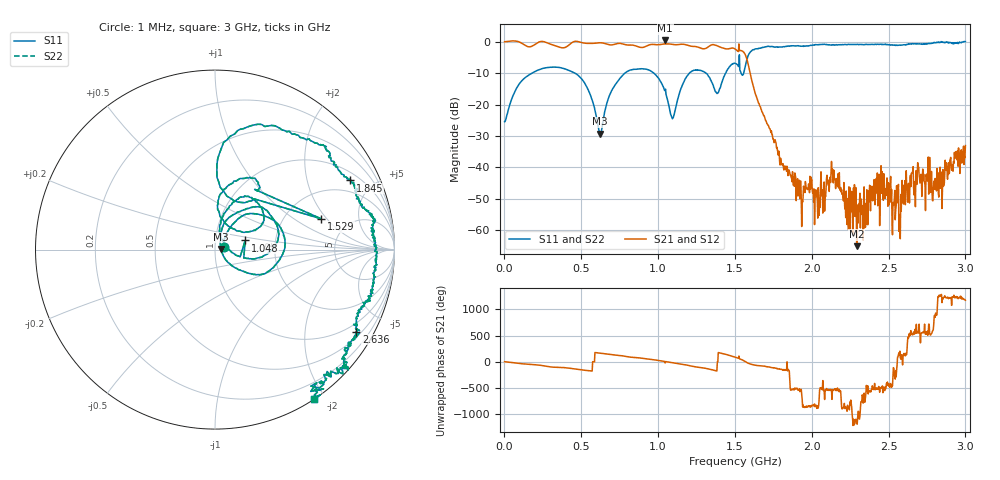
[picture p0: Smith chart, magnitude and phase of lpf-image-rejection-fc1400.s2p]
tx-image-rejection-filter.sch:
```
<Qucs Schematic 0.0.20>
<Properties>
  <View=-3,-960,4144,2839,0.288391,0,180>
  <Grid=10,10,1>
  <DataSet=sband-tx.dat>
  <DataDisplay=sband-tx.dpl>
  <OpenDisplay=1>
  <Script=sband-tx.m>
  <RunScript=0>
  <showFrame=0>
  <FrameText0=Title>
  <FrameText1=Drawn By:>
  <FrameText2=Date:>
  <FrameText3=Revision:>
</Properties>
<Symbol>
</Symbol>
<Components>
  <L L11 1 330 -360 -26 10 0 0 "6.8 nH" 1 "" 0>
  <L L12 1 760 -360 -26 10 0 0 "6.8 nH" 1 "" 0>
  <L L15 1 430 -360 -26 10 0 0 "10 nH" 1 "" 0>
  <L L14 1 540 -360 -26 10 0 0 "10 nH" 1 "" 0>
  <L L13 1 650 -360 -26 10 0 0 "10 nH" 1 "" 0>
  <C C9 1 380 -280 17 -26 0 1 "1.6 pF" 1 "" 0 "neutral" 0>
  <C C10 1 490 -280 17 -26 0 1 "1.8 pF" 1 "" 0 "neutral" 0>
  <C C11 1 590 -280 17 -26 0 1 "1.8 pF" 1 "" 0 "neutral" 0>
  <C C12 1 710 -280 17 -26 0 1 "1.6 pF" 1 "" 0 "neutral" 0>
  <L L19 1 540 -90 -26 10 0 0 "10 nH" 1 "" 0>
  <C C14 1 490 -10 17 -26 0 1 "1.8 pF" 1 "" 0 "neutral" 0>
  <C C15 1 590 -10 17 -26 0 1 "1.8 pF" 1 "" 0 "neutral" 0>
  <L L16 1 330 -90 -26 10 0 0 "6.2 nH" 1 "" 0>
  <L L18 1 430 -90 -26 10 0 0 "9.1 nH" 1 "" 0>
  <L L20 1 650 -90 -26 10 0 0 "9.1 nH" 1 "" 0>
  <L L17 1 760 -90 -26 10 0 0 "6.2 nH" 1 "" 0>
  <C C13 1 380 -10 17 -26 0 1 "1.8 pF" 1 "" 0 "neutral" 0>
  <C C16 1 710 -10 17 -26 0 1 "1.8 pF" 1 "" 0 "neutral" 0>
  <C C19 1 380 240 17 -26 0 1 "1.8 pF" 1 "" 0 "neutral" 0>
  <C C20 1 710 240 17 -26 0 1 "1.8 pF" 1 "" 0 "neutral" 0>
  <L L22 1 330 160 -26 10 0 0 "5.6 nH" 1 "" 0>
  <L L23 1 430 160 -26 10 0 0 "8.2 nH" 1 "" 0>
  <L L21 1 540 160 -26 10 0 0 "8.2 nH" 1 "" 0>
  <L L24 1 650 160 -26 10 0 0 "8.2 nH" 1 "" 0>
  <L L25 1 760 160 -26 10 0 0 "5.6 nH" 1 "" 0>
  <C C17 1 490 240 17 -26 0 1 "2.2 pF" 1 "" 0 "neutral" 0>
  <C C18 1 590 240 17 -26 0 1 "2.2 pF" 1 "" 0 "neutral" 0>
  <L L26 1 330 -590 -26 10 0 0 "7.5 nH" 1 "" 0>
  <L L28 1 430 -590 -26 10 0 0 "11 nH" 1 "" 0>
  <L L29 1 540 -590 -26 10 0 0 "11 nH" 1 "" 0>
  <L L30 1 650 -590 -26 10 0 0 "11 nH" 1 "" 0>
  <L L27 1 760 -590 -26 10 0 0 "7.5 nH" 1 "" 0>
  <C C21 1 380 -510 17 -26 0 1 "1.5 pF" 1 "" 0 "neutral" 0>
  <C C22 1 490 -510 17 -26 0 1 "1.6 pF" 1 "" 0 "neutral" 0>
  <C C23 1 590 -510 17 -26 0 1 "1.6 pF" 1 "" 0 "neutral" 0>
  <C C24 1 710 -510 17 -26 0 1 "1.5 pF" 1 "" 0 "neutral" 0>
  <Pac P30 1 210 -290 18 -26 0 1 "11" 1 "50 Ohm" 1 "-10 dBm" 0 "2220 MHz" 0 "26.85" 0>
  <Pac P31 1 880 -290 18 -26 0 1 "12" 1 "50 Ohm" 1 "-10 dBm" 0 "2220 MHz" 0 "26.85" 0>
  <Pac P32 1 210 -20 18 -26 0 1 "13" 1 "50 Ohm" 1 "-10 dBm" 0 "2220 MHz" 0 "26.85" 0>
  <Pac P33 1 880 -30 18 -26 0 1 "14" 1 "50 Ohm" 1 "-10 dBm" 0 "2220 MHz" 0 "26.85" 0>
  <Pac P34 1 880 230 18 -26 0 1 "15" 1 "50 Ohm" 1 "-10 dBm" 0 "2220 MHz" 0 "26.85" 0>
  <Pac P35 1 210 230 18 -26 0 1 "16" 1 "50 Ohm" 1 "-10 dBm" 0 "2220 MHz" 0 "26.85" 0>
  <Pac P28 1 220 -520 18 -26 0 1 "6" 1 "50 Ohm" 1 "-10 dBm" 0 "2220 MHz" 0 "26.85" 0>
  <Pac P29 1 880 -530 18 -26 0 1 "10" 1 "50 Ohm" 1 "-10 dBm" 0 "2220 MHz" 0 "26.85" 0>
  <GND *11 5 520 -440 0 0 0 0>
  <GND *8 5 520 -210 0 0 0 0>
  <GND *10 5 520 310 0 0 0 0>
  <GND *9 5 520 60 0 0 0 0>
  <Eqn Eqn4 1 1030 -590 -28 15 0 0 "S610_dB=dB(S[6,10])" 1 "S106_dB=dB(S[10,6])" 1 "S66_dB=dB(S[6,6])" 1 "S1010_dB=dB(S[10,10])" 1 "yes" 0>
  <Eqn Eqn6 1 1050 -100 -28 15 0 0 "S1314_dB=dB(S[13,14])" 1 "S1413_dB=dB(S[14,13])" 1 "S1313_dB=dB(S[13,13])" 1 "S1414_dB=dB(S[14,14])" 1 "yes" 0>
  <Eqn Eqn7 1 1060 160 -28 15 0 0 "S1616_dB=dB(S[16,16])" 1 "S1515_dB=dB(S[15,15])" 1 "S1615_dB=dB(S[16,15])" 1 "S1516_dB=dB(S[15,16])" 1 "yes" 0>
  <Eqn Eqn5 1 1040 -360 -28 15 0 0 "S1111_dB=dB(S[11,11])" 1 "S1112_dB=dB(S[11,12])" 1 "S1211_dB=dB(S[12,11])" 1 "S1212_dB=dB(S[12,12])" 1 "yes" 0>
  <SUBST FR4_elecrow 1 480 -850 -30 24 0 0 "4.3" 1 "1.6mm" 1 "0.035 mm" 1 "0.015" 1 "1.72e-8" 1 "0" 1>
  <.SP SP1 1 230 -890 0 75 0 0 "log" 1 "1000 MHz" 1 "2800 MHz" 1 "400" 1 "no" 0 "1" 0 "2" 0 "no" 0 "no" 0>
  <GND *4 5 360 1480 0 0 0 0>
  <Pac P16 1 220 1420 18 -26 0 1 "8" 1 "50 Ohm" 1 "-10 dBm" 0 "2220 MHz" 0 "26.85" 0>
  <Pac P17 1 490 1420 18 -26 0 1 "9" 1 "50 Ohm" 1 "-10 dBm" 0 "2220 MHz" 0 "26.85" 0>
  <SPfile LPF3 1 360 1380 -26 -38 0 0 "lpf-image-rejection-fc1400.s2p" 0 "rectangular" 0 "linear" 0 "open" 0 "2" 0>
  <L L10 1 1080 1360 -26 10 0 0 "12 nH" 1 "" 0>
  <L L9 1 1280 1360 -26 10 0 0 "12 nH" 1 "" 0>
  <MVIA MS5 1 1220 1690 20 0 0 0 "FR4_elecrow" 1 "0.4 mm" 1 "26.85" 0>
  <C C6 1 1200 1500 17 -26 0 1 "1.5 pF" 1 "" 0 "neutral" 0>
  <C C7 1 1380 1500 17 -26 0 1 "1.5 pF" 1 "" 0 "neutral" 0>
  <MVIA MS10 1 1400 1690 20 0 0 0 "FR4_elecrow" 1 "0.4 mm" 1 "26.85" 0>
  <L L6 1 820 1360 -26 10 0 0 "6.8 nH" 1 "" 0>
  <MLIN MS16 1 1200 1430 -159 -26 1 1 "FR4_elecrow" 1 "1.5 mm" 1 "1 mm" 1 "Hammerstad" 0 "Kirschning" 0 "26.85" 0>
  <MLIN MS17 1 1380 1430 -159 -26 1 1 "FR4_elecrow" 1 "1.5 mm" 1 "1 mm" 1 "Hammerstad" 0 "Kirschning" 0 "26.85" 0>
  <L L7 1 1730 1360 -26 10 0 0 "6.8 nH" 1 "" 0>
  <Pac P23 1 1850 1420 18 -26 0 1 "7" 1 "50 Ohm" 1 "-100 dBm" 0 "2220 MHz" 0 "26.85" 0>
  <C C8 1 1610 1500 17 -26 0 1 "1.5 pF" 1 "" 0 "neutral" 0>
  <MVIA MS13 1 1630 1690 20 0 0 0 "FR4_elecrow" 1 "0.4 mm" 1 "26.85" 0>
  <MLIN MS18 1 1610 1430 -159 -26 1 1 "FR4_elecrow" 1 "1.5 mm" 1 "1 mm" 1 "Hammerstad" 0 "Kirschning" 0 "26.85" 0>
  <L L8 1 1490 1360 -26 10 0 0 "12 nH" 1 "" 0>
  <C C5 1 940 1520 17 -26 0 1 "1.5 pF" 1 "" 0 "neutral" 0>
  <MVIA MS2 1 960 1700 20 0 0 0 "FR4_elecrow" 1 "0.4 mm" 1 "26.85" 0>
  <MLIN MS15 1 940 1440 -159 -26 1 1 "FR4_elecrow" 1 "1.5 mm" 1 "1mm" 1 "Hammerstad" 0 "Kirschning" 0 "26.85" 0>
  <Pac P22 1 700 1420 -94 -26 1 1 "5" 1 "50 Ohm" 1 "-10 dBm" 0 "2220 MHz" 0 "26.85" 0>
  <MLIN MS19 1 880 1360 -26 -91 1 0 "FR4_elecrow" 1 "1.5 mm" 1 "0.5 mm" 1 "Hammerstad" 0 "Kirschning" 0 "26.85" 0>
  <MLIN MS20 1 990 1360 -26 -91 1 0 "FR4_elecrow" 1 "1.5 mm" 1 "0.5 mm" 1 "Hammerstad" 0 "Kirschning" 0 "26.85" 0>
  <MLIN MS21 1 1140 1360 -26 -91 1 0 "FR4_elecrow" 1 "1.5 mm" 1 "0.5 mm" 1 "Hammerstad" 0 "Kirschning" 0 "26.85" 0>
  <MLIN MS22 1 1220 1360 -26 -91 1 0 "FR4_elecrow" 1 "1.5 mm" 1 "0.5 mm" 1 "Hammerstad" 0 "Kirschning" 0 "26.85" 0>
  <MLIN MS23 1 1340 1360 -26 -91 1 0 "FR4_elecrow" 1 "1.5 mm" 1 "0.5 mm" 1 "Hammerstad" 0 "Kirschning" 0 "26.85" 0>
  <MLIN MS24 1 1430 1360 -26 -91 1 0 "FR4_elecrow" 1 "1.5 mm" 1 "0.5 mm" 1 "Hammerstad" 0 "Kirschning" 0 "26.85" 0>
  <MLIN MS25 1 1550 1360 -26 -91 1 0 "FR4_elecrow" 1 "1.5 mm" 1 "0.5 mm" 1 "Hammerstad" 0 "Kirschning" 0 "26.85" 0>
  <MLIN MS26 1 1670 1360 -26 -91 1 0 "FR4_elecrow" 1 "1.5 mm" 1 "0.5 mm" 1 "Hammerstad" 0 "Kirschning" 0 "26.85" 0>
  <MLIN MS3 1 940 1590 -159 -26 1 1 "FR4_elecrow" 1 "1.5 mm" 1 "1.5 mm" 1 "Hammerstad" 0 "Kirschning" 0 "26.85" 0>
  <MLIN MS27 1 1200 1580 -159 -26 1 1 "FR4_elecrow" 1 "1.5 mm" 1 "1.5 mm" 1 "Hammerstad" 0 "Kirschning" 0 "26.85" 0>
  <MLIN MS29 1 1610 1580 -159 -26 1 1 "FR4_elecrow" 1 "1.5 mm" 1 "1.5 mm" 1 "Hammerstad" 0 "Kirschning" 0 "26.85" 0>
  <MLIN MS28 1 1380 1580 -159 -26 1 1 "FR4_elecrow" 1 "1.5 mm" 1 "1.5 mm" 1 "Hammerstad" 0 "Kirschning" 0 "26.85" 0>
  <MLIN MS1 1 740 1360 -26 -91 1 0 "FR4_elecrow" 1 "1.5 mm" 1 "20 mm" 1 "Hammerstad" 0 "Kirschning" 0 "26.85" 0>
  <MLIN MS14 1 1810 1360 -26 -91 1 0 "FR4_elecrow" 1 "1.5 mm" 1 "20 mm" 1 "Hammerstad" 0 "Kirschning" 0 "26.85" 0>
  <GND * 5 700 1490 0 0 0 0>
  <GND * 5 1850 1490 0 0 0 0>
  <Eqn Eqn3 1 1350 700 -28 15 0 0 "S75_dB=dB(S[7,5])" 1 "S98_dB=dB(S[9,8])" 1 "S88_dB=dB(S[8,8])" 1 "S55_dB=dB(S[5,5])" 1 "yes" 0>
</Components>
<Wires>
  <590 -360 590 -310 "" 0 0 0 "">
  <380 -360 380 -310 "" 0 0 0 "">
  <710 -360 710 -310 "" 0 0 0 "">
  <380 -250 380 -230 "" 0 0 0 "">
  <590 -250 590 -230 "" 0 0 0 "">
  <590 -230 710 -230 "" 0 0 0 "">
  <710 -250 710 -230 "" 0 0 0 "">
  <570 -360 590 -360 "" 0 0 0 "">
  <490 -360 510 -360 "" 0 0 0 "">
  <490 -360 490 -310 "" 0 0 0 "">
  <380 -230 490 -230 "" 0 0 0 "">
  <490 -230 520 -230 "" 0 0 0 "">
  <490 -250 490 -230 "" 0 0 0 "">
  <360 -360 380 -360 "" 0 0 0 "">
  <710 -360 730 -360 "" 0 0 0 "">
  <460 -360 490 -360 "" 0 0 0 "">
  <380 -360 400 -360 "" 0 0 0 "">
  <680 -360 710 -360 "" 0 0 0 "">
  <590 -360 620 -360 "" 0 0 0 "">
  <520 -230 590 -230 "" 0 0 0 "">
  <590 -90 590 -40 "" 0 0 0 "">
  <380 -90 380 -40 "" 0 0 0 "">
  <710 -90 710 -40 "" 0 0 0 "">
  <380 20 380 40 "" 0 0 0 "">
  <590 20 590 40 "" 0 0 0 "">
  <590 40 710 40 "" 0 0 0 "">
  <710 20 710 40 "" 0 0 0 "">
  <570 -90 590 -90 "" 0 0 0 "">
  <490 -90 510 -90 "" 0 0 0 "">
  <490 -90 490 -40 "" 0 0 0 "">
  <380 40 490 40 "" 0 0 0 "">
  <490 20 490 40 "" 0 0 0 "">
  <360 -90 380 -90 "" 0 0 0 "">
  <710 -90 730 -90 "" 0 0 0 "">
  <460 -90 490 -90 "" 0 0 0 "">
  <380 -90 400 -90 "" 0 0 0 "">
  <680 -90 710 -90 "" 0 0 0 "">
  <590 -90 620 -90 "" 0 0 0 "">
  <490 40 520 40 "" 0 0 0 "">
  <520 40 590 40 "" 0 0 0 "">
  <590 160 590 210 "" 0 0 0 "">
  <380 160 380 210 "" 0 0 0 "">
  <710 160 710 210 "" 0 0 0 "">
  <380 270 380 290 "" 0 0 0 "">
  <590 270 590 290 "" 0 0 0 "">
  <590 290 710 290 "" 0 0 0 "">
  <710 270 710 290 "" 0 0 0 "">
  <570 160 590 160 "" 0 0 0 "">
  <490 160 510 160 "" 0 0 0 "">
  <490 160 490 210 "" 0 0 0 "">
  <380 290 490 290 "" 0 0 0 "">
  <490 270 490 290 "" 0 0 0 "">
  <360 160 380 160 "" 0 0 0 "">
  <710 160 730 160 "" 0 0 0 "">
  <460 160 490 160 "" 0 0 0 "">
  <380 160 400 160 "" 0 0 0 "">
  <680 160 710 160 "" 0 0 0 "">
  <590 160 620 160 "" 0 0 0 "">
  <490 290 520 290 "" 0 0 0 "">
  <520 290 590 290 "" 0 0 0 "">
  <590 -590 590 -540 "" 0 0 0 "">
  <380 -590 380 -540 "" 0 0 0 "">
  <710 -590 710 -540 "" 0 0 0 "">
  <380 -480 380 -460 "" 0 0 0 "">
  <590 -480 590 -460 "" 0 0 0 "">
  <590 -460 710 -460 "" 0 0 0 "">
  <710 -480 710 -460 "" 0 0 0 "">
  <570 -590 590 -590 "" 0 0 0 "">
  <490 -590 510 -590 "" 0 0 0 "">
  <490 -590 490 -540 "" 0 0 0 "">
  <380 -460 490 -460 "" 0 0 0 "">
  <490 -480 490 -460 "" 0 0 0 "">
  <360 -590 380 -590 "" 0 0 0 "">
  <710 -590 730 -590 "" 0 0 0 "">
  <460 -590 490 -590 "" 0 0 0 "">
  <380 -590 400 -590 "" 0 0 0 "">
  <680 -590 710 -590 "" 0 0 0 "">
  <590 -590 620 -590 "" 0 0 0 "">
  <490 -460 520 -460 "" 0 0 0 "">
  <520 -460 590 -460 "" 0 0 0 "">
  <220 -590 220 -550 "" 0 0 0 "">
  <220 -590 300 -590 "" 0 0 0 "">
  <220 -490 220 -460 "" 0 0 0 "">
  <220 -460 380 -460 "" 0 0 0 "">
  <210 -360 300 -360 "" 0 0 0 "">
  <210 -360 210 -320 "" 0 0 0 "">
  <210 -260 210 -230 "" 0 0 0 "">
  <210 -230 380 -230 "" 0 0 0 "">
  <790 -360 880 -360 "" 0 0 0 "">
  <880 -360 880 -320 "" 0 0 0 "">
  <880 -260 880 -230 "" 0 0 0 "">
  <710 -230 880 -230 "" 0 0 0 "">
  <790 -90 880 -90 "" 0 0 0 "">
  <880 -90 880 -60 "" 0 0 0 "">
  <880 0 880 40 "" 0 0 0 "">
  <710 40 880 40 "" 0 0 0 "">
  <210 10 210 40 "" 0 0 0 "">
  <210 40 380 40 "" 0 0 0 "">
  <210 -90 210 -50 "" 0 0 0 "">
  <210 -90 300 -90 "" 0 0 0 "">
  <210 160 210 200 "" 0 0 0 "">
  <210 160 300 160 "" 0 0 0 "">
  <210 260 210 290 "" 0 0 0 "">
  <210 290 380 290 "" 0 0 0 "">
  <710 290 880 290 "" 0 0 0 "">
  <880 260 880 290 "" 0 0 0 "">
  <880 160 880 200 "" 0 0 0 "">
  <790 160 880 160 "" 0 0 0 "">
  <710 -460 880 -460 "" 0 0 0 "">
  <880 -500 880 -460 "" 0 0 0 "">
  <790 -590 880 -590 "" 0 0 0 "">
  <880 -590 880 -560 "" 0 0 0 "">
  <520 -460 520 -440 "" 0 0 0 "">
  <520 -230 520 -210 "" 0 0 0 "">
  <520 290 520 310 "" 0 0 0 "">
  <520 40 520 60 "" 0 0 0 "">
  <360 1410 360 1480 "" 0 0 0 "">
  <220 1480 360 1480 "" 0 0 0 "">
  <220 1450 220 1480 "" 0 0 0 "">
  <220 1380 220 1390 "" 0 0 0 "">
  <220 1380 330 1380 "" 0 0 0 "">
  <360 1480 490 1480 "" 0 0 0 "">
  <490 1450 490 1480 "" 0 0 0 "">
  <490 1380 490 1390 "" 0 0 0 "">
  <390 1380 490 1380 "" 0 0 0 "">
  <1200 1610 1200 1690 "" 0 0 0 "">
  <1200 1530 1200 1550 "" 0 0 0 "">
  <1200 1460 1200 1470 "" 0 0 0 "">
  <1380 1460 1380 1470 "" 0 0 0 "">
  <1380 1610 1380 1690 "" 0 0 0 "">
  <1380 1530 1380 1550 "" 0 0 0 "">
  <700 1450 700 1490 "" 0 0 0 "">
  <700 1360 700 1390 "" 0 0 0 "">
  <700 1360 710 1360 "" 0 0 0 "">
  <770 1360 790 1360 "" 0 0 0 "">
  <1760 1360 1780 1360 "" 0 0 0 "">
  <1850 1360 1850 1390 "" 0 0 0 "">
  <1850 1450 1850 1490 "" 0 0 0 "">
  <1840 1360 1850 1360 "" 0 0 0 "">
  <1610 1460 1610 1470 "" 0 0 0 "">
  <1610 1610 1610 1690 "" 0 0 0 "">
  <1610 1530 1610 1550 "" 0 0 0 "">
  <940 1550 940 1560 "" 0 0 0 "">
  <940 1470 940 1490 "" 0 0 0 "">
  <940 1620 940 1700 "" 0 0 0 "">
  <1580 1360 1610 1360 "" 0 0 0 "">
  <1610 1360 1640 1360 "" 0 0 0 "">
  <1610 1360 1610 1400 "" 0 0 0 "">
  <1370 1360 1380 1360 "" 0 0 0 "">
  <1380 1360 1400 1360 "" 0 0 0 "">
  <1380 1360 1380 1400 "" 0 0 0 "">
  <1200 1380 1200 1400 "" 0 0 0 "">
  <1180 1380 1200 1380 "" 0 0 0 "">
  <1170 1360 1180 1360 "" 0 0 0 "">
  <1180 1360 1190 1360 "" 0 0 0 "">
  <1180 1360 1180 1380 "" 0 0 0 "">
  <1020 1360 1050 1360 "" 0 0 0 "">
  <910 1360 940 1360 "" 0 0 0 "">
  <940 1360 960 1360 "" 0 0 0 "">
  <940 1360 940 1410 "" 0 0 0 "">
</Wires>
<Diagrams>
  <Rect 1480 -561 623 379 3 #c0c0c0 1 00 0 2.1e+09 5e+07 2.35e+09 0 -6 1 3.19391 1 -1 0.2 1 315 0 225 "" "" "" "">
	<"S106_dB" #0000ff 2 3 0 0 0>
	<"S1112_dB" #ff0000 2 3 0 0 0>
	<"S1314_dB" #ff00ff 2 3 0 0 0>
	<"S1516_dB" #00ff00 2 3 0 0 0>
  </Rect>
  <Rect 1470 -96 634 354 3 #c0c0c0 1 00 0 2.5e+09 1e+08 2.8e+09 0 -43.9902 5 -10 1 -1 0.5 1 315 0 225 "" "" "" "">
	<"S106_dB" #0000ff 2 3 0 0 0>
	<"S1112_dB" #aa0000 2 3 0 0 0>
	<"S1314_dB" #ff00ff 2 3 0 0 0>
	<"S1516_dB" #00ff00 2 3 0 0 0>
  </Rect>
  <Rect 1470 456 634 446 3 #c0c0c0 1 00 1 0 0.2 1 1 -0.1 0.5 1.1 1 -0.1 0.5 1.1 315 0 225 "" "" "" "">
	<"S1010_dB" #0000ff 2 3 0 0 0>
	<"S1111_dB" #ff0000 2 3 0 0 0>
	<"S1313_dB" #ff00ff 2 3 0 0 0>
	<"S1515_dB" #00ff00 2 3 0 0 0>
  </Rect>
  <Rect 150 1108 1055 448 3 #c0c0c0 1 00 1 1e+09 1e+08 2.8e+09 1 -111.299 20 10.1049 1 -1 0.2 1 315 0 225 "" "" "" "">
	<"S75_dB" #aa007f 2 3 0 0 0>
	  <Mkr 1.78713e+09 511 -518 3 0 0>
	<"S55_dB" #777777 2 3 0 0 0>
	<"S88_dB" #aa55ff 2 3 0 0 0>
	<"S98_dB" #ff0000 2 3 0 0 0>
	  <Mkr 1.80102e+09 264 -101 3 0 0>
	  <Mkr 1.5708e+09 165 -506 3 0 0>
  </Rect>
</Diagrams>
<Paintings>
  <Rectangle 140 -660 1090 260 #0055ff 2 2 #c0c0c0 1 0>
  <Rectangle 140 -380 1090 210 #aa0000 2 2 #c0c0c0 1 0>
  <Rectangle 140 -130 1090 220 #ff00ff 2 2 #c0c0c0 1 0>
  <Rectangle 140 140 1090 210 #00aa00 2 2 #c0c0c0 1 0>
  <Text 710 70 12 #000000 0 "Passband ripple 0.5dB">
  <Text 720 330 12 #000000 0 "Passband ripple 0.2dB">
  <Text 670 -440 12 #000000 0 "Passband ripple 1dB">
</Paintings>
```
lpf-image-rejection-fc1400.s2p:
! created by azisi at Tue Aug 04 21:43:20 EEST 2020
! generated using vna/J Version 3.4.3
# Hz S DB R 50
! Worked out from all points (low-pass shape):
!   1006 points, 1 MHz to 3 GHz, reference 50 ohm
!   highest |S21| = 0.35 dB at 1.045 GHz (marker M1); lowest = -65.0 dB at 2.293 GHz (marker M2)
!   |S21| within 3 dB of the highest: start of sweep to 1.509 GHz; 1.52352 GHz to 1.52851 GHz (4.99 MHz wide, 0.327 % of centre)
!   lowest |S11| = -29.2 dB at 621.7 MHz (marker M3), VSWR 1.07, Z = 53.6 + j0.323 ohm
!   |S11| at or under -10 dB: start of sweep to 181 MHz; 456.6 MHz to 785.2 MHz (328.6 MHz wide, 52.9 % of centre); 971.9 MHz to 1.205 GHz (232.7 MHz wide, 21.4 % of centre)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
!   |S22| runs from -29.2 to 0.0 dB; largest |S21 - S12| = 0
!   S11 on the Smith chart (normalised r, x): 1 MHz: 1.11, +0.04; 1.048 GHz: 1.40, +0.15; 1.529 GHz: 3.16, +1.75; 1.845 GHz: 1.36, +3.68; 2.636 GHz: 0.67, -3.60; 3 GHz: -0.00, -1.87
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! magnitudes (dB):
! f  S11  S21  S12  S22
! 1 MHz  -25.4  -0.1  -0.1  -25.4
! 347.2 MHz  -8.2  -1.6  -1.6  -8.2
! 621.7 MHz  -29.2  -0.4  -0.4  -29.2
! 1.045 GHz  -15.6  0.4  0.4  -15.6
! 1.048 GHz  -15.1  -0.8  -0.8  -15.1
! 1.502 GHz  -7.0  -2.4  -2.4  -7.0
! 1.529 GHz  -4.2  -2.9  -2.9  -4.2
! 1.845 GHz  -1.5  -42.6  -42.6  -1.5
! 2.293 GHz  -0.9  -65.0  -65.0  -0.9
! 2.636 GHz  -0.8  -51.3  -51.3  -0.8
! 3 GHz  0.0  -33.0  -33.0  0.0
